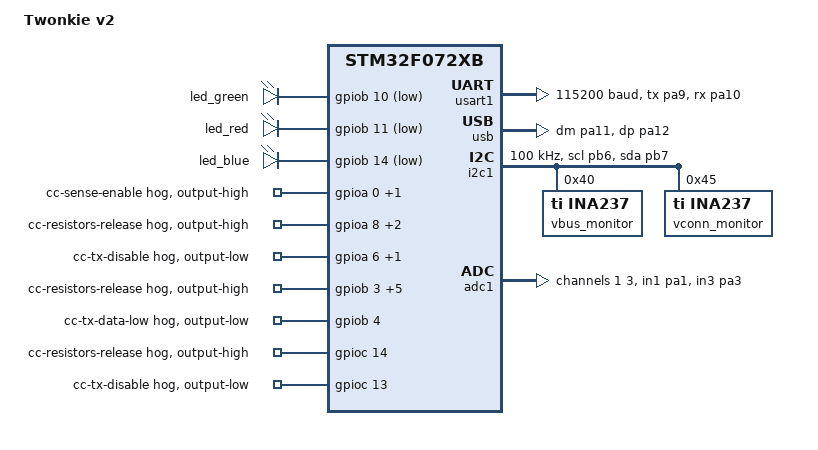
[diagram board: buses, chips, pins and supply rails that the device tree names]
/*
 * SPDX-FileCopyrightText: Copyright The Zephyr Project Contributors
 * SPDX-License-Identifier: Apache-2.0
 */

/dts-v1/;

/* Reuse the MCU hardware description and package pin functions. */
#include <st/f0/stm32f072Xb.dtsi>
#include <st/f0/stm32f072c(8-b)tx-pinctrl.dtsi>

/* Identify the board and assign its default system resources. */
/ {
	model = "Twonkie v2";
	compatible = "twonkie-v2";

	/* Select internal memory and the default console and shell UART. */
	chosen {
		zephyr,sram = &sram0;
		zephyr,flash = &flash0;
		zephyr,console = &usart1;
		zephyr,shell-uart = &usart1;
	};

	/* Provide LED and power monitor aliases for applications and samples. */
	aliases {
		led0 = &led_red;
		led1 = &led_green;
		led2 = &led_blue;
		vbus = &vbus_monitor;
		vconn = &vconn_monitor;
	};

	/* Describe the board LEDs controlled through GPIOs. */
	leds {
		compatible = "gpio-leds";

		/* Connect the green LED to PB10, active low. */
		led_green: led-green {
			gpios = <&gpiob 10 GPIO_ACTIVE_LOW>;
		};

		/* Connect the red LED to PB11, active low. */
		led_red: led-red {
			gpios = <&gpiob 11 GPIO_ACTIVE_LOW>;
		};

		/* Connect the blue LED to PB14, active low. */
		led_blue: led-blue {
			gpios = <&gpiob 14 GPIO_ACTIVE_LOW>;
		};
	};
};

/* Enable the internal 8 MHz oscillator as the PLL reference. */
&clk_hsi {
	status = "okay";
};

/* Enable the internal 48 MHz oscillator with USB automatic trimming. */
&clk_hsi48 {
	status = "okay";
	crs-usb-sof;
};

/* Multiply HSI by six to provide a 48 MHz system clock source. */
&pll {
	clocks = <&clk_hsi>;
	prediv = <1>;
	mul = <6>;
	status = "okay";
};

/* Select the PLL system clock and run the AHB and APB buses without division. */
&rcc {
	clocks = <&pll>;
	clock-frequency = <DT_FREQ_M(48)>;
	ahb-prescaler = <1>;
	apb1-prescaler = <1>;
};

/* Configure the physical UART on PA9/PA10 for a 115200-baud console. */
&usart1 {
	pinctrl-0 = <&usart1_tx_pa9 &usart1_rx_pa10>;
	pinctrl-names = "default";
	current-speed = <115200>;
	status = "okay";
};

/* Enable USB on PA11/PA12 using the internal 48 MHz oscillator. */
zephyr_udc0: &usb {
	pinctrl-0 = <&usb_dm_pa11 &usb_dp_pa12>;
	pinctrl-names = "default";
	clocks = <&rcc STM32_CLOCK(APB1, 23)>,
		 <&rcc STM32_SRC_HSI48 USB_SEL(0)>;
	status = "okay";
};

/* Connect the INA237 monitors over I2C1 on PB6/PB7 at 100 kHz. */
&i2c1 {
	pinctrl-0 = <&i2c1_scl_pb6 &i2c1_sda_pb7>;
	pinctrl-names = "default";
	clock-frequency = <I2C_BITRATE_STANDARD>;
	status = "okay";

	/* Measure VBUS voltage and current with the INA237 at I2C address 0x40. */
	vbus_monitor: sensor@40 {
		compatible = "ti,ina237";
		reg = <0x40>;
		current-lsb-microamps = <1000>;
		rshunt-micro-ohms = <12000>;
		adc-mode = "Bus and shunt voltage continuous";
	};

	/* Measure VCONN voltage and current with the INA237 at I2C address 0x45. */
	/* This INA237 supports VCONN voltage and current monitoring only on CC1. */
	vconn_monitor: sensor@45 {
		compatible = "ti,ina237";
		reg = <0x45>;
		current-lsb-microamps = <1000>;
		rshunt-micro-ohms = <12000>;
		/* Keep the monitor idle until measurement is needed. */
		adc-mode = "Shutdown continuous";
	};
};

/* Enable the MCU ADC to measure CC voltages through PA1 and PA3. */
&adc1 {
	pinctrl-0 = <&adc_in1_pa1 &adc_in3_pa3>;
	pinctrl-names = "default";
	st,adc-clock-source = "SYNC";
	/* Divide 48 MHz by four for a 12 MHz ADC clock, below its 14 MHz limit. */
	st,adc-prescaler = <4>;
	#address-cells = <1>;
	#size-cells = <0>;
	status = "okay";

	/* Measure CC1 on ADC channel 1 with 12-bit resolution. */
	channel@1 {
		reg = <1>;
		zephyr,gain = "ADC_GAIN_1";
		zephyr,reference = "ADC_REF_INTERNAL";
		zephyr,vref-mv = <3300>;
		zephyr,acquisition-time = <ADC_ACQ_TIME_MAX>;
		zephyr,resolution = <12>;
	};

	/* Measure CC2 on ADC channel 3 with 12-bit resolution. */
	channel@3 {
		reg = <3>;
		zephyr,gain = "ADC_GAIN_1";
		zephyr,reference = "ADC_REF_INTERNAL";
		zephyr,vref-mv = <3300>;
		zephyr,acquisition-time = <ADC_ACQ_TIME_MAX>;
		zephyr,resolution = <12>;
	};
};

/* Configure GPIO port A controls for CC sensing, termination resistors, and transmitters. */
&gpioa {
	/* Configure CC sense-enable GPIOs as push-pull outputs, initially high (enabled). */
	cc-sense-enable {
		gpio-hog;
		gpios = <0 GPIO_ACTIVE_HIGH>, <2 GPIO_ACTIVE_HIGH>;
		output-high;
	};

	/* Configure CC resistor GPIOs as open-drain outputs, initially high (disconnected). */
	cc-resistors-release {
		gpio-hog;
		gpios = <8 (GPIO_ACTIVE_HIGH | GPIO_OPEN_DRAIN)>,
			 <13 (GPIO_ACTIVE_HIGH | GPIO_OPEN_DRAIN)>,
			 <15 (GPIO_ACTIVE_HIGH | GPIO_OPEN_DRAIN)>;
		output-high;
	};

	/* Configure CC2 TX data and CC1 TX enable as push-pull outputs, initially low. */
	cc-tx-disable {
		gpio-hog;
		gpios = <6 GPIO_ACTIVE_HIGH>, <14 GPIO_ACTIVE_HIGH>;
		output-low;
	};
};

/* Configure GPIO port B controls for CC termination resistors and transmit data. */
&gpiob {
	/* Configure CC resistor GPIOs as open-drain outputs, initially high (disconnected). */
	cc-resistors-release {
		gpio-hog;
		gpios = <3 (GPIO_ACTIVE_HIGH | GPIO_OPEN_DRAIN)>,
			 <5 (GPIO_ACTIVE_HIGH | GPIO_OPEN_DRAIN)>,
			 <8 (GPIO_ACTIVE_HIGH | GPIO_OPEN_DRAIN)>,
			 <12 (GPIO_ACTIVE_HIGH | GPIO_OPEN_DRAIN)>,
			 <13 (GPIO_ACTIVE_HIGH | GPIO_OPEN_DRAIN)>,
			 <15 (GPIO_ACTIVE_HIGH | GPIO_OPEN_DRAIN)>;
		output-high;
	};

	/* Configure the CC transmit-data GPIO as a push-pull output, initially low. */
	cc-tx-data-low {
		gpio-hog;
		gpios = <4 GPIO_ACTIVE_HIGH>;
		output-low;
	};
};

/* Configure GPIO port C controls for CC termination resistors and transmit enable. */
&gpioc {
	/* Configure the CC resistor GPIO as an open-drain output, initially high (disconnected). */
	cc-resistors-release {
		gpio-hog;
		gpios = <14 (GPIO_ACTIVE_HIGH | GPIO_OPEN_DRAIN)>;
		output-high;
	};

	/* Configure CC2 TX enable as a push-pull output, initially low (disabled). */
	cc-tx-disable {
		gpio-hog;
		gpios = <13 GPIO_ACTIVE_HIGH>;
		output-low;
	};
};
